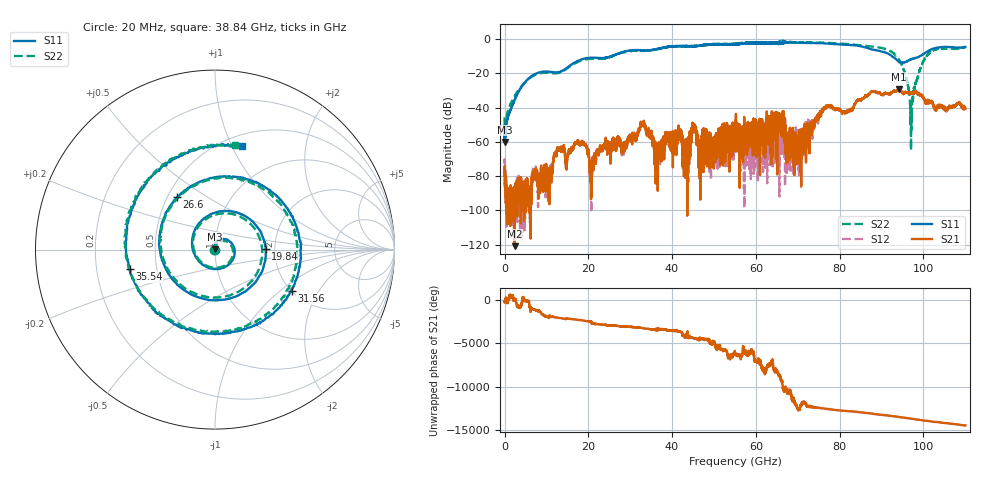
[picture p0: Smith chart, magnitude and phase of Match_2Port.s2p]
#  HZ  S  RI  R  50.00
! Rohde & Schwarz ZVA67 4Ports - Version 4.11 - 1305.7002k04 SN: 101032
! Date: 2026-02-18 15:40:42
! Measurements: S11 S21 S12 S22
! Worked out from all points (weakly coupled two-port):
!   5500 points, 20 MHz to 110 GHz, reference 50 ohm
!   highest |S21| = -29.14 dB at 94.16 GHz (marker M1); lowest = -120.9 dB at 2.42 GHz (marker M2)
!   lowest |S11| = -60.0 dB at 100 MHz (marker M3), VSWR 1.00, Z = 49.9 + j0.0845 ohm
!   |S11| at or under -10 dB: start of sweep to 25.45 GHz; 92.5 GHz to 99.05 GHz (6.549 GHz wide, 6.84 % of centre)
!   |S22| runs from -64.9 to -0.9 dB; largest |S21 - S12| = 0.0084
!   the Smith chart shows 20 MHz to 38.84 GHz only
!   S11 on the Smith chart (normalised r, x): 20 MHz: 0.99, -0.00; 19.84 GHz: 1.79, +0.01; 26.6 GHz: 0.56, +0.38; 31.56 GHz: 2.00, -1.21; 35.54 GHz: 0.35, -0.10; 38.84 GHz: 0.61, +1.10
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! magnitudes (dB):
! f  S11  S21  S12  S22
! 20 MHz  -50.4  -80.0  -80.2  -45.7
! 100 MHz  -60.0  -78.6  -73.4  -52.8
! 2.42 GHz  -35.5  -120.9  -92.4  -33.3
! 18.36 GHz  -11.8  -60.8  -61.1  -12.5
! 19.84 GHz  -11.0  -66.2  -66.9  -11.6
! 20.78 GHz  -10.8  -78.4  -88.6  -11.5
! 26.6 GHz  -8.8  -65.4  -61.2  -9.1
! 31.56 GHz  -6.3  -56.1  -56.1  -6.7
! 35.54 GHz  -6.2  -57.7  -59.3  -6.2
! 36.68 GHz  -5.6  -69.2  -64.5  -5.6
! 38.84 GHz  -4.5  -57.0  -56.5  -4.5
! 43.5 GHz  -3.9  -59.9  -65.1  -4.1
! 45.16 GHz  -4.1  -49.9  -53.3  -4.0
! 46.7 GHz  -3.8  -65.5  -66.5  -3.6
! 55.02 GHz  -2.8  -57.1  -57.0  -3.0
! 69.72 GHz  -2.0  -60.6  -67.3  -1.8
! 73.34 GHz  -2.2  -50.5  -56.2  -2.0
! 91.68 GHz  -8.6  -31.8  -31.6  -6.5
! 94.16 GHz  -13.3  -29.1  -29.2  -11.8
! 97.08 GHz  -11.7  -31.9  -32.0  -47.6
! 101.2 GHz  -6.8  -36.7  -36.6  -8.6
! 110 GHz  -4.6  -40.5  -40.1  -4.5
